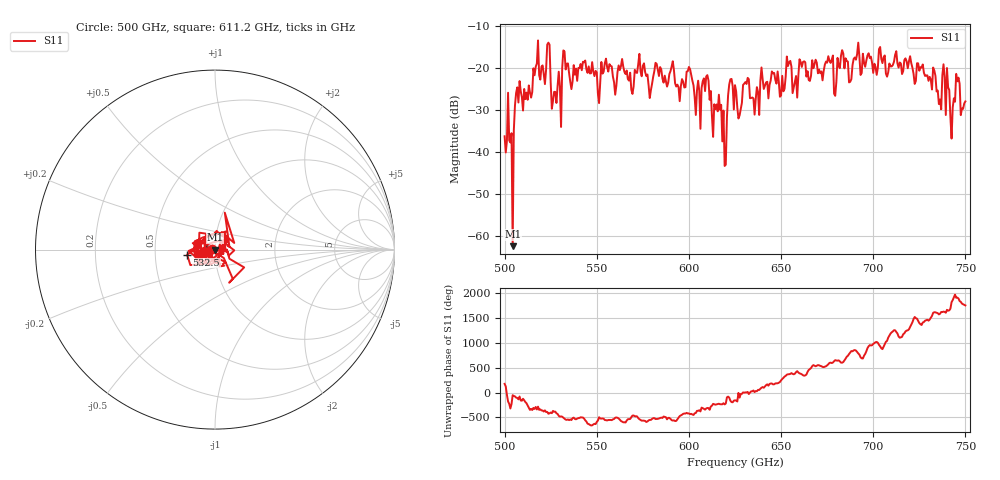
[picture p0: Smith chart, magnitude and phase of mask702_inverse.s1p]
!Created with skrf (http://scikit-rf.org).
# GHz S MA R 50.0
!freq magS11 angS11
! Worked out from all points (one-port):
!   401 points, 500 GHz to 750 GHz, reference 50 ohm
!   lowest |S11| = -62.4 dB at 504.4 GHz (marker M1), VSWR 1.00, Z = 50 - j0.0616 ohm
!   |S11| at or under -10 dB: start of sweep to end of sweep
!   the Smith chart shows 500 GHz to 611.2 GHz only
!   S11 on the Smith chart (normalised r, x): 500 GHz: 0.97, +0.00; 532.5 GHz: 0.73, -0.04; 611.2 GHz: 1.09, +0.02
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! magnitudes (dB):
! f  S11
! 500 GHz  -36.2
! 504.4 GHz  -62.4
! 506.9 GHz  -24.6
! 513.8 GHz  -25.8
! 516.9 GHz  -19.7
! 523.8 GHz  -14.0
! 526.9 GHz  -25.7
! 531.2 GHz  -19.9
! 532.5 GHz  -16.0
! 550.6 GHz  -26.1
! 562.5 GHz  -20.5
! 590.6 GHz  -19.6
! 593.8 GHz  -23.9
! 600 GHz  -19.7
! 605 GHz  -23.0
! 611.2 GHz  -27.5
! 619.4 GHz  -43.3
! 622.5 GHz  -22.7
! 625 GHz  -24.1
! 656.2 GHz  -26.0
! 687.5 GHz  -23.3
! 691.2 GHz  -16.7
! 718.8 GHz  -20.0
! 735.6 GHz  -28.6
! 738.8 GHz  -22.2
! 743.1 GHz  -29.4
! 745.6 GHz  -23.2
! 750 GHz  -27.9
